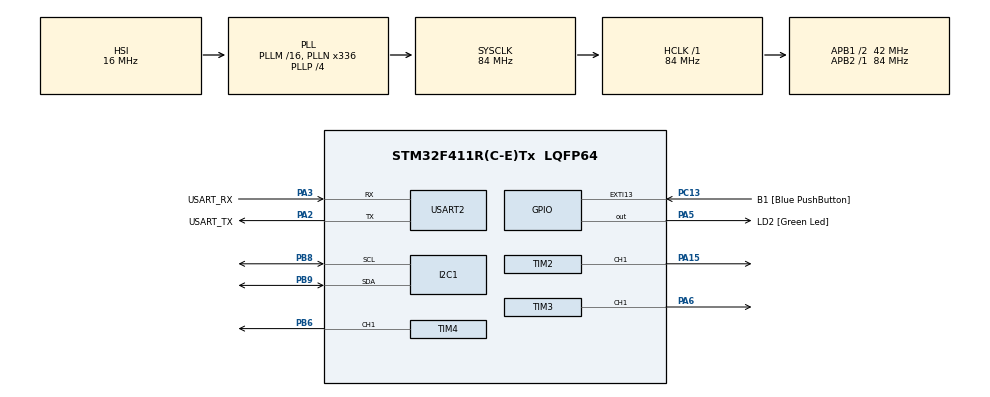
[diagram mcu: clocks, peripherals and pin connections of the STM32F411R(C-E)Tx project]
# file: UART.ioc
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Dma.Request0=TIM4_UP
Dma.TIM4_UP.0.Direction=DMA_MEMORY_TO_PERIPH
Dma.TIM4_UP.0.FIFOMode=DMA_FIFOMODE_DISABLE
Dma.TIM4_UP.0.Instance=DMA1_Stream6
Dma.TIM4_UP.0.MemDataAlignment=DMA_MDATAALIGN_HALFWORD
Dma.TIM4_UP.0.MemInc=DMA_MINC_ENABLE
Dma.TIM4_UP.0.Mode=DMA_NORMAL
Dma.TIM4_UP.0.PeriphDataAlignment=DMA_PDATAALIGN_HALFWORD
Dma.TIM4_UP.0.PeriphInc=DMA_PINC_DISABLE
Dma.TIM4_UP.0.Priority=DMA_PRIORITY_LOW
Mcu.Family=STM32F4
Mcu.Name=STM32F411R(C-E)Tx
Mcu.Package=LQFP64
NVIC.DMA1_Stream6_IRQn=true\:0\:0\:false\:false\:true\:false\:true\:true
NVIC.PriorityGroup=NVIC_PRIORITYGROUP_0
NVIC.TIM2_IRQn=true\:0\:0\:false\:false\:true\:true\:true\:true
NVIC.TIM3_IRQn=true\:0\:0\:false\:false\:true\:true\:true\:true
NVIC.TIM4_IRQn=true\:0\:0\:false\:false\:true\:true\:true\:true
NVIC.TIM5_IRQn=true\:0\:0\:false\:false\:true\:true\:true\:true
NVIC.USART2_IRQn=true\:0\:0\:false\:false\:true\:true\:true\:true
PA13.GPIO_Label=TMS
PA13.Mode=Serial_Wire
PA13.Signal=SYS_JTMS-SWDIO
PA14.GPIO_Label=TCK
PA14.Mode=Serial_Wire
PA14.Signal=SYS_JTCK-SWCLK
PA15.Signal=S_TIM2_CH1_ETR
PA2.GPIO_Label=USART_TX
PA2.Mode=Asynchronous
PA2.Signal=USART2_TX
PA3.GPIO_Label=USART_RX
PA3.Mode=Asynchronous
PA3.Signal=USART2_RX
PA5.GPIO_Label=LD2 [Green Led]
PA5.Signal=GPIO_Output
PA6.Signal=S_TIM3_CH1
PB3.GPIO_Label=SWO
PB3.Signal=SYS_JTDO-SWO
PB6.Signal=S_TIM4_CH1
PB8.Mode=I2C
PB8.Signal=I2C1_SCL
PB9.Mode=I2C
PB9.Signal=I2C1_SDA
PC13-ANTI_TAMP.GPIO_Label=B1 [Blue PushButton]
PC13-ANTI_TAMP.GPIO_ModeDefaultEXTI=GPIO_MODE_IT_FALLING
PC13-ANTI_TAMP.Signal=GPXTI13
PC14-OSC32_IN.Mode=LSE-External-Oscillator
PC14-OSC32_IN.Signal=RCC_OSC32_IN
PC15-OSC32_OUT.Mode=LSE-External-Oscillator
PC15-OSC32_OUT.Signal=RCC_OSC32_OUT
PH0\ -\ OSC_IN.Mode=HSE-External-Clock-Source
PH0\ -\ OSC_IN.Signal=RCC_OSC_IN
PH1\ -\ OSC_OUT.Mode=HSE-External-Clock-Source
PH1\ -\ OSC_OUT.Signal=RCC_OSC_OUT
ProjectManager.HeapSize=0x200
ProjectManager.StackSize=0x400
ProjectManager.TargetToolchain=STM32CubeIDE
RCC.48MHZClocksFreq_Value=84000000
RCC.AHBFreq_Value=84000000
RCC.APB1CLKDivider=RCC_HCLK_DIV2
RCC.APB1Freq_Value=42000000
RCC.APB1TimFreq_Value=84000000
RCC.APB2Freq_Value=84000000
RCC.APB2TimFreq_Value=84000000
RCC.CortexFreq_Value=84000000
RCC.FLatency-AdvancedSettings=FLASH_LATENCY_2
RCC.HCLKFreq_Value=84000000
RCC.HSE_VALUE=8000000
RCC.HSI_VALUE=16000000
RCC.PLLN=336
RCC.PLLP=RCC_PLLP_DIV4
RCC.SYSCLKFreq_VALUE=84000000
RCC.SYSCLKSource=RCC_SYSCLKSOURCE_PLLCLK
RCC.VCOOutputFreq_Value=336000000
SH.S_TIM2_CH1_ETR.0=TIM2_CH1,PWM Generation1 CH1
SH.S_TIM3_CH1.0=TIM3_CH1,Output Compare1 CH1
SH.S_TIM4_CH1.0=TIM4_CH1,PWM Generation1 CH1
TIM2.Channel-PWM\ Generation1\ CH1=TIM_CHANNEL_1
TIM2.Period=999
TIM2.Prescaler=99
TIM3.Channel-Output\ Compare1\ CH1=TIM_CHANNEL_1
TIM3.Period=100
TIM3.Prescaler=8399
TIM4.Channel-PWM\ Generation1\ CH1=TIM_CHANNEL_1
TIM4.Period=559
TIM4.Prescaler=0
TIM5.Period=99
TIM5.Prescaler=8399
USART2.VirtualMode=VM_ASYNC
VP_TIM2_VS_ClockSourceINT.Mode=Internal
VP_TIM3_VS_ClockSourceINT.Mode=Internal
VP_TIM4_VS_ClockSourceINT.Mode=Internal
VP_TIM5_VS_ClockSourceINT.Mode=Internal
board=NUCLEO-F411RE

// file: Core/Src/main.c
/* USER CODE BEGIN Header */
/**
  ******************************************************************************
  * @file           : main.c
  * @brief          : Main program body
  ******************************************************************************
  * @attention
  *
  * Copyright (c) 2026 STMicroelectronics.
  * All rights reserved.
  *
  * This software is licensed under terms that can be found in the LICENSE file
  * in the root directory of this software component.
  * If no LICENSE file comes with this software, it is provided AS-IS.
  *
  ******************************************************************************
  */
/* USER CODE END Header */
#include "main.h"

/* USER CODE BEGIN Includes */

#include <stdio.h>
#include <string.h>
#include <math.h>

#include "MPU6050.h"
#include "DShot.h"
#include "Controller.h"

/* USER CODE END Includes */

/* USER CODE BEGIN PD */
#define MPU6050_ADDR (0x68 << 1)
#define WHO_AM_I (0x75)
#define PWR_MGMT_1 (0x6B)
#define SMPLRT_DIV (0x19)
#define GYRO_CONFIG (0x1B)
#define ACCEL_CONFIG (0x1C)
#define ACCEL_XOUT_H (0x3B)
#define GYRO_XOUT_H (0x43)

//#define DSHOT_LEN 18

/* USER CODE END PD */

I2C_HandleTypeDef hi2c1;

TIM_HandleTypeDef htim2;
TIM_HandleTypeDef htim3;
TIM_HandleTypeDef htim4;
TIM_HandleTypeDef htim5;
DMA_HandleTypeDef hdma_tim4_up;

UART_HandleTypeDef huart2;

/* USER CODE BEGIN PV */

uint8_t RxData[20];
uint8_t temp[2];
int indx = 0;
uint8_t FinalData[20];
int countLoop = 0;

float kp;
float kd;
float ki;

float error = 0.0f;
float setpoint = 0.0f;
float integral = 0.0f;
float error_roc = 0.0f;
float tuned_value = 0.0f;
float prev_error = 0.0f;

//int FilterInitialized = 0;

uint16_t telemetry = 0;
//uint16_t dshot_buffer[18];

//uint16_t dshot_buffer[DSHOT_LEN] = {0};

uint32_t pulse;

volatile uint8_t sampleFlag = 0;
volatile uint8_t controlFlag = 0;

//volatile uint8_t dshot_busy = 0;
//volatile uint32_t dshot_start_count = 0;
//volatile uint32_t dshot_done_count = 0;
//volatile uint32_t dshot_busy_skip_count = 0;

/* USER CODE END PV */

void SystemClock_Config(void);
static void MX_GPIO_Init(void);
static void MX_DMA_Init(void);
static void MX_USART2_UART_Init(void);
static void MX_I2C1_Init(void);
static void MX_TIM2_Init(void);
static void MX_TIM3_Init(void);
static void MX_TIM4_Init(void);
static void MX_TIM5_Init(void);

/* USER CODE BEGIN 0 */
void HAL_UART_RxCpltCallback(UART_HandleTypeDef *huart)
{
    memcpy(RxData+indx, temp, 1);
    if (++indx >= 20) indx = 0;

    HAL_UART_Receive_IT(&huart2, temp, 1);
}

int __io_putchar(int ch)
{
    HAL_UART_Transmit(&huart2, (uint8_t*)&ch, 1, HAL_MAX_DELAY);
    return ch;
}

void HAL_TIM_PeriodElapsedCallback (TIM_HandleTypeDef *htim)
{
    if (htim->Instance == TIM2)
    {
        HAL_GPIO_TogglePin(GPIOA, GPIO_PIN_0);
    }
    else if (htim->Instance == TIM3)
    {
        sampleFlag = 1;
    }
    else if (htim -> Instance == TIM5)
    {
        controlFlag = 1;
    }

}

void PID(void)
{
   error = setpoint - angleX;
   integral += error * dt;
   integral = fmaxf(-200, fminf(200, integral));
   error_roc = (error - prev_error) / dt;
   tuned_value = (error * kp) + (integral * ki) + (error_roc * kd);
   tuned_value = fmaxf(1000, fminf(2000, tuned_value));
   prev_error = error;
}

//void Build_Dshot_Packet(uint16_t throttle_cmd)
//{
//    // Build 12-bit value: 11-bit throttle + telemetry bit
//    uint16_t value = (throttle_cmd << 1) | telemetry;
//
//    // DShot checksum
//    uint16_t csum = 0;
//    uint16_t csum_data = value;
//
//    for (int i = 0; i < 3; i++)
//    {
//        csum ^= csum_data;
//        csum_data >>= 4;
//    }
//
//    csum &= 0x0F;
//
//    // Final 16-bit packet
//    uint16_t packet = (value << 4) | csum;
//
////    printf("throttle=%u packet=0x%04X\r\n", throttle, packet);
//
//    // Convert bits to PWM compare values
//    for (int i = 0; i < 16; i++)
//    {
//        dshot_buffer[i] = (packet & (1 << (15 - i))) ? 420 : 210;
//    }
//
//    // Long low period after packet
//    dshot_buffer[16] = 0;
//    dshot_buffer[17] = 0;
////    printf("%u %u %u %u %u %u\r\n",
////           dshot_buffer[0], dshot_buffer[1], dshot_buffer[2],
////           dshot_buffer[3], dshot_buffer[4], dshot_buffer[5]);
//}

//void HAL_DMA_XferCpltCallback(DMA_HandleTypeDef *hdma)
//{
//    if (hdma == &hdma_tim4_up)
//    {
//        TIM4 -> DIER &= ~TIM_DIER_UDE;
//        __HAL_TIM_SET_COMPARE(&htim4, TIM_CHANNEL_1, 0);
//        dshot_done_count++;
//        dshot_busy = 0;
//    }
//}
//
//void DShot_DMA_Complete(DMA_HandleTypeDef *hdma)
//{
//    if (hdma == &hdma_tim4_up)
//    {
//        TIM4->DIER &= ~TIM_DIER_UDE;
//        __HAL_TIM_SET_COMPARE(&htim4, TIM_CHANNEL_1, 0);
//
//        dshot_done_count++;
//        dshot_busy = 0;
//    }
//}

//void Send_DShot(uint16_t throttle_cmd)
//{
//
//    if (dshot_busy)
//    {
//        dshot_busy_skip_count++;
//        return;
//    }
//
//    dshot_busy = 1;
//    dshot_start_count++;
//
//    telemetry = 0;
//    Build_Dshot_Packet(throttle_cmd);
//
//    __HAL_TIM_SET_COUNTER(&htim4, 0);
//    __HAL_TIM_SET_COMPARE(&htim4, TIM_CHANNEL_1, 0);
//
//    HAL_StatusTypeDef status = HAL_DMA_Start_IT(&hdma_tim4_up,
//                     (uint32_t)&dshot_buffer[0],
//                     (uint32_t)&TIM4->CCR1,
//                     DSHOT_LEN);
//
//    if (status != HAL_OK)
//    {
//        dshot_busy = 0;
//        return;
//    }
//
//    TIM4->DIER |= TIM_DIER_UDE;
//}
//

/* USER CODE END 0 */

int main(void)
{

  /* USER CODE BEGIN 1 */
    printf("ACTIVE MAIN 12345\r\n");

  /* USER CODE END 1 */

  /* MCU Configuration--------------------------------------------------------*/

  /* Reset of all peripherals, Initializes the Flash interface and the Systick. */
  HAL_Init();

  /* Configure the system clock */
  SystemClock_Config();

  /* Initialize all configured peripherals */
  MX_GPIO_Init();
  MX_DMA_Init();
  MX_USART2_UART_Init();
  MX_I2C1_Init();
  MX_TIM2_Init();
  MX_TIM3_Init();
  MX_TIM4_Init();
  MX_TIM5_Init();
  /* USER CODE BEGIN 2 */
  printf("BOOT\r\n");
  printf("RESET FLAGS: 0x%081X\r\n", RCC->CSR);
  __HAL_RCC_CLEAR_RESET_FLAGS();

  printf("ABOUT TO INIT MPU FROM REAL MAIN\r\n");

  HAL_Delay(300);

  for (int attempt = 1; attempt <=5; attempt ++)
  {

      if (MPU6050_Init())
      {
          printf("MPU Init Success on attempt %d\r\n", attempt);
          printf("Calibrating MPU\r\n");
          Calibrate_MPU6050();
          printf("Calibration done\r\n");
          break;
      }

      printf("MPU Init attempt failed attempt %d\r\n", attempt);
      HAL_Delay(200);
  }

    HAL_TIM_PWM_Start(&htim2, TIM_CHANNEL_1);
    HAL_TIM_Base_Start_IT(&htim3);

//    angleX = 0.0f;
//    angleY = 0.0f;
//    angleZ = 0.0f;

    Controller_Init();

    int i = 0;

//    throttle = 1000;

//    hdma_tim4_up.XferCpltCallback = DShot_DMA_Complete;

//    HAL_TIM_PWM_Start(&htim4, TIM_CHANNEL_1);

//    DShot_Start_Frame();

//    uint32_t lastPrint = 0;

//    hdma_tim4_up.XferCpltCallback = DShot_DMA_Complete;
//    HAL_TIM_PWM_Start(&htim4, TIM_CHANNEL_1);

    DShot_Init();

    uint32_t last_dshot_time = 0;
    uint32_t start = HAL_GetTick();

    uint32_t lastRampTime = HAL_GetTick();
    uint16_t throttle_cmd = 0;

    uint16_t min_throttle = 100;
    uint16_t max_throttle = 650;
    uint16_t base_throttle = 430;
    float max_angle = 90.0f;
    float target_angle = 5.5f;

    float error = 0;

//    float max_correction = 60.0f;

    float filteredThrottle = 0;

//    float kp_up = 11.0;
//    float kd_up = 0.6f;
//
//    float kp_down = 14.0f;
//    float kd_down = 0.15f;
//
//    float ki = 0.75f;

//    float prev_error = 0.0f;
//    const float dt = 0.01f;
//
//    float integral = 0.0f;
//    float integral_limit = 100.0f;
//
//    float derivative = 0.0f;
//    float correction = 0.0f;
//
//    float P = 0.0f;
//    float D = 0.0f;
//    float I = 0.0f;
//
//    float boost = 0.0f;

    HAL_TIM_Base_Start_IT(&htim5);

  /* USER CODE END 2 */

  /* Infinite loop */
  while (1)
  {

    /* USER CODE BEGIN 3 */

//      Send_DShot(300);
//      HAL_Delay(2);
////      printf("start=%lu done=%lu skip=%lu busy=%u\r\n",
////             dshot_start_count,
////             dshot_done_count,
////             dshot_busy_skip_count,
////             dshot_busy);

    if (controlFlag)
    {

        controlFlag = 0;

        Controller_UpdateSensors();

//        MPU6050_Read();
//
//           Gx = Gx - GxOffset;
//           Gy = Gy - GyOffset;
//           Gz = Gz - GzOffset;
//
//
//
//           if (!FilterInitialized)
//           {
//               GxFiltered = Gx;
//               GyFiltered = Gy;
//               GzFiltered = Gz;
//               FilterInitialized = 1;
//           } else
//           {
//               GxFiltered = (0.9 * GxFiltered) + (Gx * 0.1);
//               GyFiltered = (0.9 * GyFiltered) + (Gy * 0.1);
//               GzFiltered = (0.9 * GzFiltered) + (Gz * 0.1);
//           }
//
//
//
//
//           float accelAngleX = atan2(Ay, Az) * 180.0f / M_PI;
//           float accelAngleY = atan2(-Ax, sqrt(Ay * Ay + Az * Az)) * 180.0f / M_PI;
//
//           angleX = 0.98f * (angleX + GxFiltered * dt) + 0.02f * accelAngleX;
//           angleY = 0.98f * (angleY + GyFiltered * dt) + 0.02f * accelAngleY;
//
//           pulse = (angleX * 999) / 180;
//           __HAL_TIM_SET_COMPARE(&htim2, TIM_CHANNEL_1, pulse);
//

        if (HAL_GetTick() - start < 3000)
                 {
                     throttle_cmd = 0;
                 }
                 else
                 {
//
//                     error = target_angle - angleX;
//
//
//                     float absError = fabs(error);
////                     float boost = 0.0f;
//
//                     if (error < 0)
//                     {
//                         P = kp_down * error;
//                         D = -kd_down * GxFiltered;
//                     }
//                     else
//                     {
//                         P = kp_up * error;
//                         D = -kd_up * GxFiltered;
//
////                         if (error > 0.0f && absError >= 2.5f && absError <= 6.0f)
////                         {
////                             boost = 40.0f * (absError - 2.0f);
////                         }
////                         else
////                         {
////                             boost = 0.0f;
////                         }
//                     }
//
//                     if (fabs(error) < 8.0f)
//                     {
//
//                         integral += error * dt;
//                     }
//                     else
//                     {
//                         integral = 0.0f;
//                     }
//
//
//                     if (integral > integral_limit) integral = integral_limit;
//                     if (integral < -integral_limit) integral = -integral_limit;
//
//
//
//
//                     I = ki * integral;
//
//                     correction = P + D + I + boost;
//
//                     throttle_cmd = base_throttle + correction;
//
////                     prev_error = error;

                     throttle_cmd = Controller_ComputeThrottle();

                 }

//        filteredThrottle = 0.9f * filteredThrottle + 0.1f * throttle_cmd;
//        throttle_cmd = filteredThrottle;

        if (throttle_cmd > max_throttle) throttle_cmd = max_throttle;
        if (throttle_cmd < min_throttle) throttle_cmd = min_throttle;

        DShot_Send(throttle_cmd);

    }

    if (i > 25)
    {
        printf("A:%7.2f E:%7.2f G:%7.2f I:%7.2f C:%8.2f T:%3u\r\n",
                controller_angle,
                controller_error,
                controller_gyro,
                controller_integral_term,
                controller_correction,
                throttle_cmd);
    i = 0;
    }

    i++;

  }

  /* USER CODE END 3 */
}

void SystemClock_Config(void)
{
  RCC_OscInitTypeDef RCC_OscInitStruct = {0};
  RCC_ClkInitTypeDef RCC_ClkInitStruct = {0};

  /** Configure the main internal regulator output voltage
  */
  __HAL_RCC_PWR_CLK_ENABLE();
  __HAL_PWR_VOLTAGESCALING_CONFIG(PWR_REGULATOR_VOLTAGE_SCALE1);

  /** Initializes the RCC Oscillators according to the specified parameters
  * in the RCC_OscInitTypeDef structure.
  */
  RCC_OscInitStruct.OscillatorType = RCC_OSCILLATORTYPE_HSI;
  RCC_OscInitStruct.HSIState = RCC_HSI_ON;
  RCC_OscInitStruct.HSICalibrationValue = RCC_HSICALIBRATION_DEFAULT;
  RCC_OscInitStruct.PLL.PLLState = RCC_PLL_ON;
  RCC_OscInitStruct.PLL.PLLSource = RCC_PLLSOURCE_HSI;
  RCC_OscInitStruct.PLL.PLLM = 16;
  RCC_OscInitStruct.PLL.PLLN = 336;
  RCC_OscInitStruct.PLL.PLLP = RCC_PLLP_DIV4;
  RCC_OscInitStruct.PLL.PLLQ = 4;
  if (HAL_RCC_OscConfig(&RCC_OscInitStruct) != HAL_OK)
  {
    Error_Handler();
  }

  /** Initializes the CPU, AHB and APB buses clocks
  */
  RCC_ClkInitStruct.ClockType = RCC_CLOCKTYPE_HCLK|RCC_CLOCKTYPE_SYSCLK
                              |RCC_CLOCKTYPE_PCLK1|RCC_CLOCKTYPE_PCLK2;
  RCC_ClkInitStruct.SYSCLKSource = RCC_SYSCLKSOURCE_PLLCLK;
  RCC_ClkInitStruct.AHBCLKDivider = RCC_SYSCLK_DIV1;
  RCC_ClkInitStruct.APB1CLKDivider = RCC_HCLK_DIV2;
  RCC_ClkInitStruct.APB2CLKDivider = RCC_HCLK_DIV1;

  if (HAL_RCC_ClockConfig(&RCC_ClkInitStruct, FLASH_LATENCY_2) != HAL_OK)
  {
    Error_Handler();
  }
}

static void MX_I2C1_Init(void)
{

  hi2c1.Instance = I2C1;
  hi2c1.Init.ClockSpeed = 100000;
  hi2c1.Init.DutyCycle = I2C_DUTYCYCLE_2;
  hi2c1.Init.OwnAddress1 = 0;
  hi2c1.Init.AddressingMode = I2C_ADDRESSINGMODE_7BIT;
  hi2c1.Init.DualAddressMode = I2C_DUALADDRESS_DISABLE;
  hi2c1.Init.OwnAddress2 = 0;
  hi2c1.Init.GeneralCallMode = I2C_GENERALCALL_DISABLE;
  hi2c1.Init.NoStretchMode = I2C_NOSTRETCH_DISABLE;
  if (HAL_I2C_Init(&hi2c1) != HAL_OK)
  {
    Error_Handler();
  }

}

static void MX_TIM2_Init(void)
{

  TIM_ClockConfigTypeDef sClockSourceConfig = {0};
  TIM_MasterConfigTypeDef sMasterConfig = {0};
  TIM_OC_InitTypeDef sConfigOC = {0};

  htim2.Instance = TIM2;
  htim2.Init.Prescaler = 99;
  htim2.Init.CounterMode = TIM_COUNTERMODE_UP;
  htim2.Init.Period = 999;
  htim2.Init.ClockDivision = TIM_CLOCKDIVISION_DIV1;
  htim2.Init.AutoReloadPreload = TIM_AUTORELOAD_PRELOAD_DISABLE;
  if (HAL_TIM_Base_Init(&htim2) != HAL_OK)
  {
    Error_Handler();
  }
  sClockSourceConfig.ClockSource = TIM_CLOCKSOURCE_INTERNAL;
  if (HAL_TIM_ConfigClockSource(&htim2, &sClockSourceConfig) != HAL_OK)
  {
    Error_Handler();
  }
  if (HAL_TIM_PWM_Init(&htim2) != HAL_OK)
  {
    Error_Handler();
  }
  sMasterConfig.MasterOutputTrigger = TIM_TRGO_RESET;
  sMasterConfig.MasterSlaveMode = TIM_MASTERSLAVEMODE_DISABLE;
  if (HAL_TIMEx_MasterConfigSynchronization(&htim2, &sMasterConfig) != HAL_OK)
  {
    Error_Handler();
  }
  sConfigOC.OCMode = TIM_OCMODE_PWM1;
  sConfigOC.Pulse = 0;
  sConfigOC.OCPolarity = TIM_OCPOLARITY_HIGH;
  sConfigOC.OCFastMode = TIM_OCFAST_DISABLE;
  if (HAL_TIM_PWM_ConfigChannel(&htim2, &sConfigOC, TIM_CHANNEL_1) != HAL_OK)
  {
    Error_Handler();
  }
  HAL_TIM_MspPostInit(&htim2);

}

static void MX_TIM3_Init(void)
{

  TIM_ClockConfigTypeDef sClockSourceConfig = {0};
  TIM_MasterConfigTypeDef sMasterConfig = {0};
  TIM_OC_InitTypeDef sConfigOC = {0};

  htim3.Instance = TIM3;
  htim3.Init.Prescaler = 8399;
  htim3.Init.CounterMode = TIM_COUNTERMODE_UP;
  htim3.Init.Period = 100;
  htim3.Init.ClockDivision = TIM_CLOCKDIVISION_DIV1;
  htim3.Init.AutoReloadPreload = TIM_AUTORELOAD_PRELOAD_DISABLE;
  if (HAL_TIM_Base_Init(&htim3) != HAL_OK)
  {
    Error_Handler();
  }
  sClockSourceConfig.ClockSource = TIM_CLOCKSOURCE_INTERNAL;
  if (HAL_TIM_ConfigClockSource(&htim3, &sClockSourceConfig) != HAL_OK)
  {
    Error_Handler();
  }
  if (HAL_TIM_OC_Init(&htim3) != HAL_OK)
  {
    Error_Handler();
  }
  sMasterConfig.MasterOutputTrigger = TIM_TRGO_RESET;
  sMasterConfig.MasterSlaveMode = TIM_MASTERSLAVEMODE_DISABLE;
  if (HAL_TIMEx_MasterConfigSynchronization(&htim3, &sMasterConfig) != HAL_OK)
  {
    Error_Handler();
  }
  sConfigOC.OCMode = TIM_OCMODE_TIMING;
  sConfigOC.Pulse = 0;
  sConfigOC.OCPolarity = TIM_OCPOLARITY_HIGH;
  sConfigOC.OCFastMode = TIM_OCFAST_DISABLE;
  if (HAL_TIM_OC_ConfigChannel(&htim3, &sConfigOC, TIM_CHANNEL_1) != HAL_OK)
  {
    Error_Handler();
  }
  HAL_TIM_MspPostInit(&htim3);

}

static void MX_TIM4_Init(void)
{

  TIM_ClockConfigTypeDef sClockSourceConfig = {0};
  TIM_MasterConfigTypeDef sMasterConfig = {0};
  TIM_OC_InitTypeDef sConfigOC = {0};

  htim4.Instance = TIM4;
  htim4.Init.Prescaler = 0;
  htim4.Init.CounterMode = TIM_COUNTERMODE_UP;
  htim4.Init.Period = 559;
  htim4.Init.ClockDivision = TIM_CLOCKDIVISION_DIV1;
  htim4.Init.AutoReloadPreload = TIM_AUTORELOAD_PRELOAD_DISABLE;
  if (HAL_TIM_Base_Init(&htim4) != HAL_OK)
  {
    Error_Handler();
  }
  sClockSourceConfig.ClockSource = TIM_CLOCKSOURCE_INTERNAL;
  if (HAL_TIM_ConfigClockSource(&htim4, &sClockSourceConfig) != HAL_OK)
  {
    Error_Handler();
  }
  if (HAL_TIM_PWM_Init(&htim4) != HAL_OK)
  {
    Error_Handler();
  }
  sMasterConfig.MasterOutputTrigger = TIM_TRGO_RESET;
  sMasterConfig.MasterSlaveMode = TIM_MASTERSLAVEMODE_DISABLE;
  if (HAL_TIMEx_MasterConfigSynchronization(&htim4, &sMasterConfig) != HAL_OK)
  {
    Error_Handler();
  }
  sConfigOC.OCMode = TIM_OCMODE_PWM1;
  sConfigOC.Pulse = 0;
  sConfigOC.OCPolarity = TIM_OCPOLARITY_HIGH;
  sConfigOC.OCFastMode = TIM_OCFAST_DISABLE;
  if (HAL_TIM_PWM_ConfigChannel(&htim4, &sConfigOC, TIM_CHANNEL_1) != HAL_OK)
  {
    Error_Handler();
  }
  HAL_TIM_MspPostInit(&htim4);

}

static void MX_TIM5_Init(void)
{

  TIM_ClockConfigTypeDef sClockSourceConfig = {0};
  TIM_MasterConfigTypeDef sMasterConfig = {0};

  htim5.Instance = TIM5;
  htim5.Init.Prescaler = 8399;
  htim5.Init.CounterMode = TIM_COUNTERMODE_UP;
  htim5.Init.Period = 99;
  htim5.Init.ClockDivision = TIM_CLOCKDIVISION_DIV1;
  htim5.Init.AutoReloadPreload = TIM_AUTORELOAD_PRELOAD_DISABLE;
  if (HAL_TIM_Base_Init(&htim5) != HAL_OK)
  {
    Error_Handler();
  }
  sClockSourceConfig.ClockSource = TIM_CLOCKSOURCE_INTERNAL;
  if (HAL_TIM_ConfigClockSource(&htim5, &sClockSourceConfig) != HAL_OK)
  {
    Error_Handler();
  }
  sMasterConfig.MasterOutputTrigger = TIM_TRGO_RESET;
  sMasterConfig.MasterSlaveMode = TIM_MASTERSLAVEMODE_DISABLE;
  if (HAL_TIMEx_MasterConfigSynchronization(&htim5, &sMasterConfig) != HAL_OK)
  {
    Error_Handler();
  }

}

static void MX_USART2_UART_Init(void)
{

  huart2.Instance = USART2;
  huart2.Init.BaudRate = 115200;
  huart2.Init.WordLength = UART_WORDLENGTH_8B;
  huart2.Init.StopBits = UART_STOPBITS_1;
  huart2.Init.Parity = UART_PARITY_NONE;
  huart2.Init.Mode = UART_MODE_TX_RX;
  huart2.Init.HwFlowCtl = UART_HWCONTROL_NONE;
  huart2.Init.OverSampling = UART_OVERSAMPLING_16;
  if (HAL_UART_Init(&huart2) != HAL_OK)
  {
    Error_Handler();
  }

}

static void MX_DMA_Init(void)
{

  /* DMA controller clock enable */
  __HAL_RCC_DMA1_CLK_ENABLE();

  /* DMA interrupt init */
  /* DMA1_Stream6_IRQn interrupt configuration */
  HAL_NVIC_SetPriority(DMA1_Stream6_IRQn, 0, 0);
  HAL_NVIC_EnableIRQ(DMA1_Stream6_IRQn);

}

static void MX_GPIO_Init(void)
{
  GPIO_InitTypeDef GPIO_InitStruct = {0};

  /* GPIO Ports Clock Enable */
  __HAL_RCC_GPIOC_CLK_ENABLE();
  __HAL_RCC_GPIOH_CLK_ENABLE();
  __HAL_RCC_GPIOA_CLK_ENABLE();
  __HAL_RCC_GPIOB_CLK_ENABLE();

  /*Configure GPIO pin Output Level */
  HAL_GPIO_WritePin(LD2_GPIO_Port, LD2_Pin, GPIO_PIN_RESET);

  /*Configure GPIO pin : B1_Pin */
  GPIO_InitStruct.Pin = B1_Pin;
  GPIO_InitStruct.Mode = GPIO_MODE_IT_FALLING;
  GPIO_InitStruct.Pull = GPIO_NOPULL;
  HAL_GPIO_Init(B1_GPIO_Port, &GPIO_InitStruct);

  /*Configure GPIO pin : LD2_Pin */
  GPIO_InitStruct.Pin = LD2_Pin;
  GPIO_InitStruct.Mode = GPIO_MODE_OUTPUT_PP;
  GPIO_InitStruct.Pull = GPIO_NOPULL;
  GPIO_InitStruct.Speed = GPIO_SPEED_FREQ_LOW;
  HAL_GPIO_Init(LD2_GPIO_Port, &GPIO_InitStruct);

}

void Error_Handler(void)
{
  __disable_irq();
  while (1)
  {
  }
}
